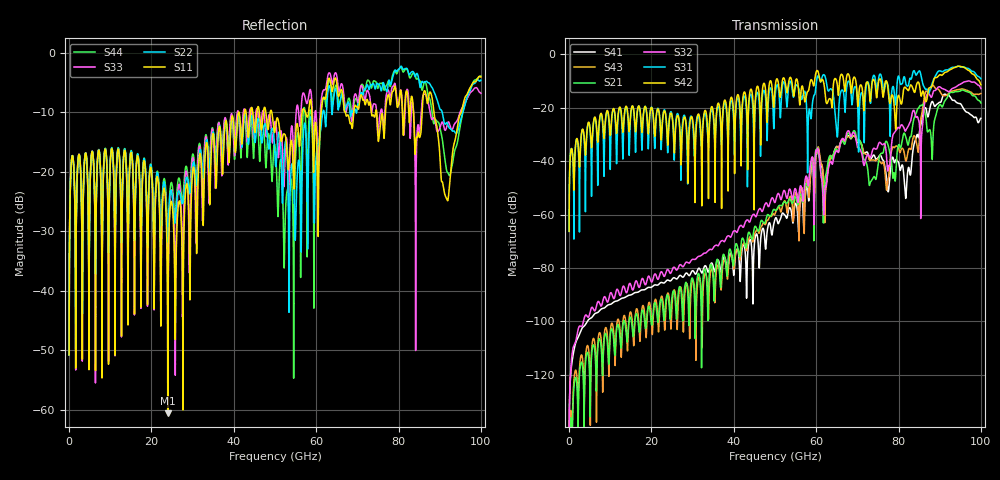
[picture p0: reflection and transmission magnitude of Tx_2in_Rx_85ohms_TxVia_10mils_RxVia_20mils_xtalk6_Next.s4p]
! Info: Touchstone file created by Circ.  Input file=Tx_2in_Rx_85ohms_TxVia_10mils_RxVia_20mils.circ
# Hz S RI R 50
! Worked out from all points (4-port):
!   10000 points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, 10 MHz to 100 GHz, reference 50 ohm
!   strongest paths, dB at 10 MHz, 25.01 GHz, 50.01 GHz, 75.01 GHz, 100 GHz:
!     S42: -66.3, -23.1, -12.7, -11.8, -11.4
!     S31: -66.3, -22.8, -16.2, -10.9, -9.1
!     S32: -144.7, -80.8, -55.4, -34.1, -12.8
!     S21: -160.2, -90.7, -58.3, -41.6, -18.2
!     S43: -146.6, -93.8, -59.8, -39.3, -14.6
!     S41: -144.7, -84.2, -61.7, -38.7, -23.9
!   lowest |S11| = -60.6 dB at 23.96 GHz (marker M1), VSWR 1.00, Z = 50.1 - j0.0768 ohm
!   |S11| at or under -10 dB: start of sweep to 41.16 GHz; 49.22 GHz to 56.57 GHz (7.346 GHz wide, 13.9 % of centre); 88.6 GHz to 95.25 GHz (6.656 GHz wide, 7.24 % of centre) (the widest 3 of 16)
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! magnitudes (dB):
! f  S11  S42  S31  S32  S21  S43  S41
! 10 MHz  -50.7  -66.3  -66.3  -144.7  -160.2  -146.6  -144.7
! 770 MHz  -17.3  -36.1  -36.2  -111.8  -143.3  -140.4  -114.6
! 6.22 GHz  -25.0  -23.5  -23.7  -96.1  -110.6  -107.8  -97.1
! 23.96 GHz  -60.6  -34.0  -36.6  -80.5  -90.3  -89.4  -84.5
! 67.65 GHz  -10.4  -7.3  -10.5  -28.7  -29.6  -30.9  -30.5
! 77.23 GHz  -7.6  -10.6  -10.5  -41.5  -32.9  -49.6  -48.8
! 100 GHz  -4.1  -11.4  -9.1  -12.8  -18.2  -14.6  -23.9
